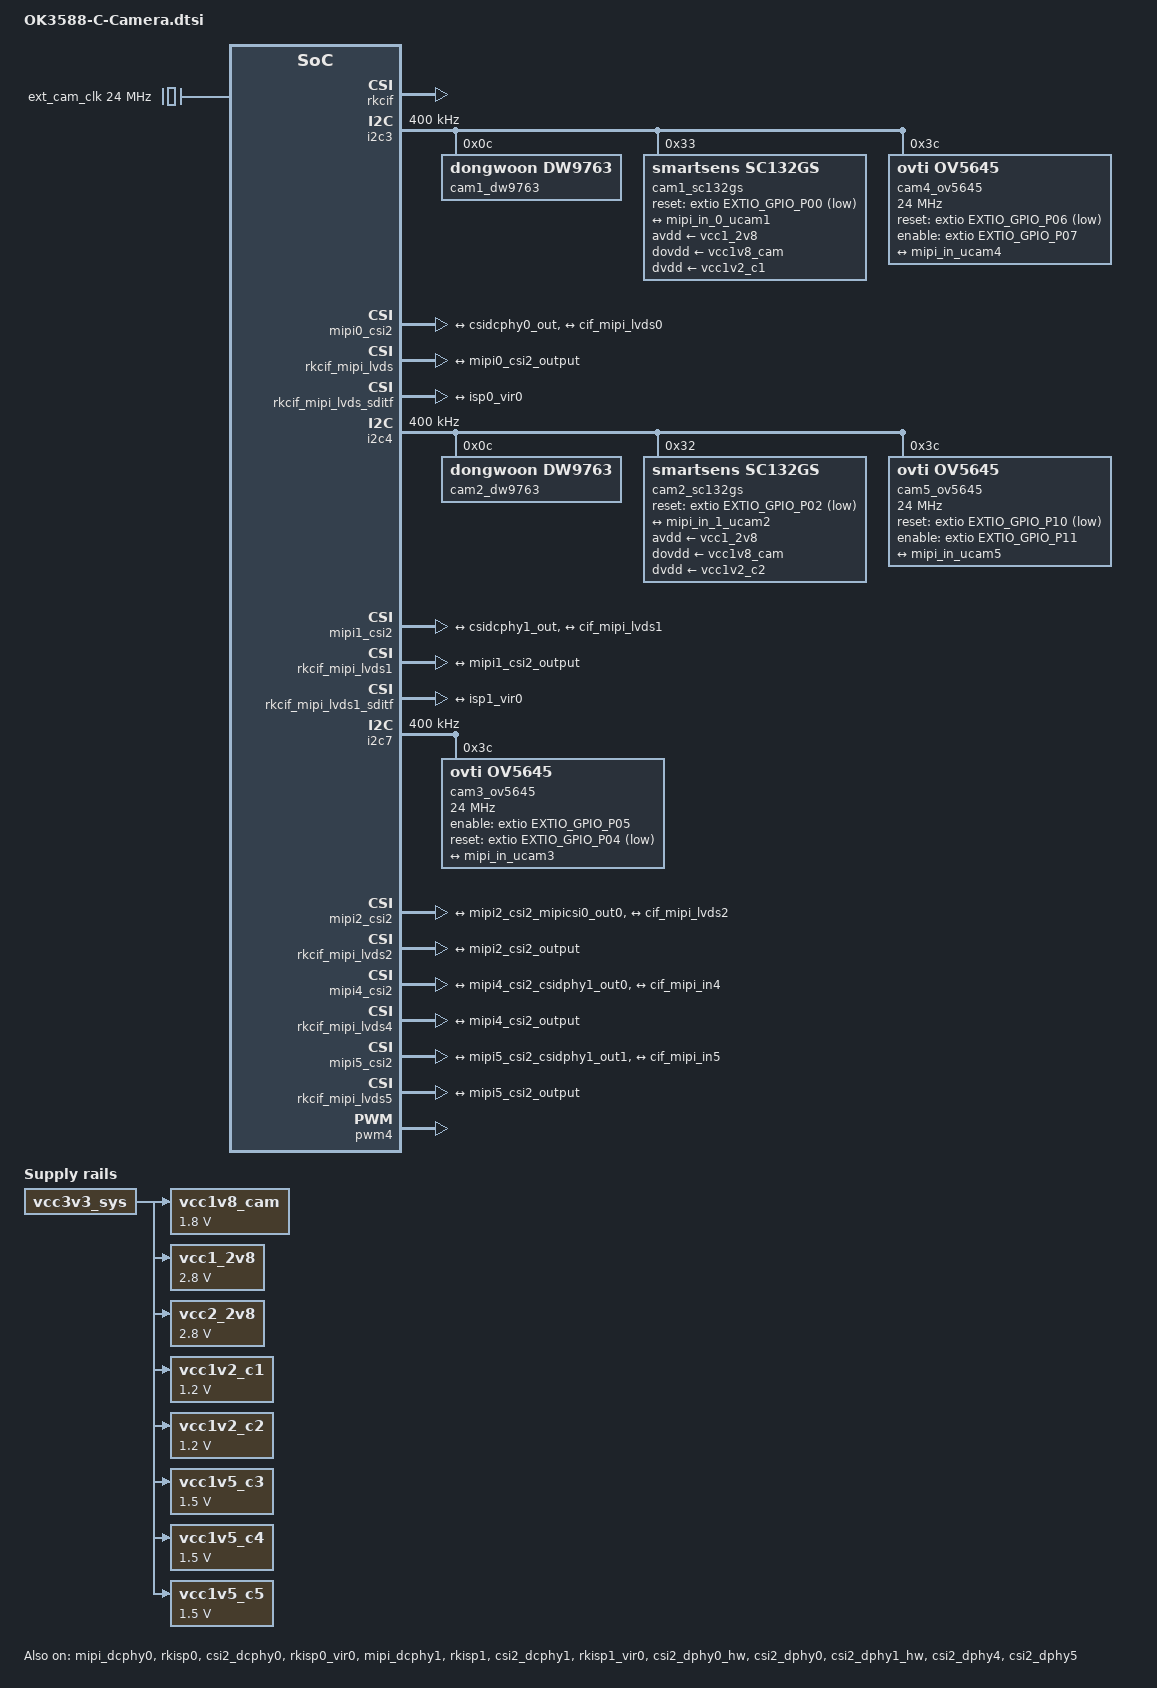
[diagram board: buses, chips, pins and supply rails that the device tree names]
// SPDX-License-Identifier: (GPL-2.0+ OR MIT)
/*
 * Copyright (c) 2022 Forlinx Co., Ltd.
 *

 * rkisp0 --> rkisp0_vir0/rkisp0_vir1/rkisp0_vir2/rkisp0_vir3
 * rkisp1 --> rkisp1_vir0/rkisp1_vir1/rkisp1_vir2/rkisp1_vir3

 * rkcif_mipi_lvds --> rkcif_mipi_lvds[0-4]_sditf

 * mipicamera0 --> csi2_dcphy0 --> mipi0_csi2 -->rkcif_mipi_lvds  --> rkcif_mipi_lvds_sditf  --> rkisp0_vir0
 * mipicamera1 --> csi2_dcphy1 --> mipi1_csi2 -->rkcif_mipi_lvds1 --> rkcif_mipi_lvds1_sditf --> rkisp1_vir0
	
 * csi2_dphy0 or (csi2_dphy1、csi2_dphy2)	dphy0
 * csi2_dphy3 or (csi2_dphy4、csi2_dphy5)	dphy1

 * mipicamera2 --> csi2_dphy1 -->  mipi2_csi2 -->rkcif_mipi_lvds2 -->rkcif_mipi_lvds2_sditf  --> rkisp0_vir1
 * mipicamera3 --> csi2_dphy2 -->  mipi3_csi2 -->rkcif_mipi_lvds3 -->rkcif_mipi_lvds3_sditf  --> rkisp0_vir2
 * mipicamera4 --> csi2_dphy4 -->  mipi4_csi2 -->rkcif_mipi_lvds4 -->rkcif_mipi_lvds4_sditf  --> rkisp1_vir1
 * mipicamera5 --> csi2_dphy5 -->  mipi5_csi2 -->rkcif_mipi_lvds5 -->rkcif_mipi_lvds5_sditf  --> rkisp1_vir2

 * mipicamera6 --> rkcif_dvp ---> rkcif_dvp_sditf
 */

/ {
    	ext_cam_clk: external-camera-clock {
            compatible = "fixed-clock";
            clock-frequency = <24000000>;
            clock-output-names = "CLK_CAMERA_24MHZ";
            #clock-cells = <0>;
    	};

    	vcc1v8_cam: vcc1v8-cam {
            compatible = "regulator-fixed";
            regulator-name = "vcc1v8_cam";
            regulator-always-on;
            regulator-boot-on;
            regulator-min-microvolt = <1800000>;
            regulator-max-microvolt = <1800000>;
            vin-supply = <&vcc3v3_sys>;
        };

        vcc1_2v8: vcc1-2v8 {
            compatible = "regulator-fixed";
            regulator-name = "vcc1_2v8";
            regulator-always-on;
            regulator-boot-on;
            regulator-min-microvolt = <2800000>;
            regulator-max-microvolt = <2800000>;
            vin-supply = <&vcc3v3_sys>;
        };

        vcc2_2v8: vcc2-2v8 {
            compatible = "regulator-fixed";
            regulator-name = "vcc2_2v8";
            regulator-always-on;
            regulator-boot-on;
            regulator-min-microvolt = <2800000>;
            regulator-max-microvolt = <2800000>;
            vin-supply = <&vcc3v3_sys>;
        };

        vcc1v2_c1: vcc1v2-c1 {
            compatible = "regulator-fixed";
            regulator-name = "vcc1v2_c1";
            regulator-always-on;
            regulator-boot-on;
            regulator-min-microvolt = <1200000>;
            regulator-max-microvolt = <1200000>;
            vin-supply = <&vcc3v3_sys>;
        };

        vcc1v2_c2: vcc1v2-c2 {
            compatible = "regulator-fixed";
            regulator-name = "vcc1v2_c2";
            regulator-always-on;
            regulator-boot-on;
            regulator-min-microvolt = <1200000>;
            regulator-max-microvolt = <1200000>;
            vin-supply = <&vcc3v3_sys>;
        };

        vcc1v5_c3: vcc1v5-c3 {
            compatible = "regulator-fixed";
            regulator-name = "vcc1v5_c3";
            regulator-always-on;
            regulator-boot-on;
            regulator-min-microvolt = <1500000>;
            regulator-max-microvolt = <1500000>;
            vin-supply = <&vcc3v3_sys>;
        };

        vcc1v5_c4: vcc1v5-c4 {
            compatible = "regulator-fixed";
            regulator-name = "vcc1v5_c4";
            regulator-always-on;
            regulator-boot-on;
            regulator-min-microvolt = <1500000>;
            regulator-max-microvolt = <1500000>;
            vin-supply = <&vcc3v3_sys>;
        };

        vcc1v5_c5: vcc1v5-c5 {
            compatible = "regulator-fixed";
            regulator-name = "vcc1v5_c5";
            regulator-always-on;
            regulator-boot-on;
            regulator-min-microvolt = <1500000>;
            regulator-max-microvolt = <1500000>;
            vin-supply = <&vcc3v3_sys>;
        };
};

&rkcif {
    status = "okay";
};

&rkcif_mmu {
    status = "okay";
};


//************************************************
//***  CAM1 OV13855 Configuration description  ***
//************************************************

&mipi_dcphy0 {
    status = "okay";
};

&rkisp0 {
    status = "okay";
};

&isp0_mmu {
    status = "okay";
};

&i2c3 {
    status = "okay";
    clock-frequency = <400000>;

    vm149c_0: vm149c@0c {
        compatible = "silicon touch,vm149c";
        status = "disabled";
        reg = <0x0c>;
        rockchip,camera-module-index = <0>;
        rockchip,camera-module-facing = "back";
	};

    cam1_ov13850: cam1_ov13850@10 {
        compatible = "ovti,ov13850";
        status = "disabled";
        reg = <0x10>;

        clocks = <&ext_cam_clk>;
        clock-names = "xvclk";

        pwdn-gpios = <&extio EXTIO_GPIO_P01 GPIO_ACTIVE_HIGH>;
        reset-gpios = <&extio EXTIO_GPIO_P00 GPIO_ACTIVE_HIGH>;
        rockchip,camera-module-index = <0>;
        rockchip,camera-module-facing = "back";
        rockchip,camera-module-name = "forlinx";
        rockchip,camera-module-lens-name = "default"; 
	lens-focus = <&vm149c_0>;

        port {
            cam1_ov13850_out: endpoint {
                remote-endpoint = <&mipi_in_0_ucam1>;
                data-lanes = <1 2 3 4>;
            };
        };
    };

    cam1_dw9763: cam1-dw9763@c {
        compatible = "dongwoon,dw9763";
        status = "okay";
        reg = <0x0c>;
        rockchip,vcm-max-current = <120>;
        rockchip,vcm-start-current = <20>;
        rockchip,vcm-rated-current = <90>;
        rockchip,vcm-step-mode = <3>;
        rockchip,vcm-t-src = <0x20>;
        rockchip,vcm-t-div = <1>;
        rockchip,camera-module-index = <0>;
        rockchip,camera-module-facing = "back";
    };

    cam1_ov13855: cam1-ov13855@36 {
        compatible = "ovti,ov13855";
        status = "disabled";
        reg = <0x36>;

        clocks = <&ext_cam_clk>;
        clock-names = "xvclk";
	power-domains = <&power RK3588_PD_VI>;
        pwdn-gpios = <&extio EXTIO_GPIO_P01 GPIO_ACTIVE_HIGH>;
        reset-gpios = <&extio EXTIO_GPIO_P00 GPIO_ACTIVE_HIGH>;
	avdd-supply = <&vcc1_2v8>;
	dovdd-supply = <&vcc1v8_cam>;
	dvdd-supply = <&vcc1v2_c1>;
        rockchip,camera-module-index = <0>;
        rockchip,camera-module-facing = "back";
        rockchip,camera-module-name = "CMK-OT2016-FV1";
        rockchip,camera-module-lens-name = "default";
        lens-focus = <&cam1_dw9763>;
        port {
            cam1_ov13855_out: endpoint {
            remote-endpoint = <&mipi_in_0_ucam1>;
            data-lanes = <1 2 3 4>;
            };
        };
    };

    cam1_sc132gs: cam1-sc132gs@33 {
        compatible = "smartsens,sc132gs";
        status = "okay";
        reg = <0x33>;

        clocks = <&ext_cam_clk>;
        clock-names = "xvclk";
	power-domains = <&power RK3588_PD_VI>;
        reset-gpios = <&extio EXTIO_GPIO_P00 GPIO_ACTIVE_LOW>;
	avdd-supply = <&vcc1_2v8>;
	dovdd-supply = <&vcc1v8_cam>;
	dvdd-supply = <&vcc1v2_c1>;
        rockchip,camera-module-index = <0>;
        rockchip,camera-module-facing = "back";
        rockchip,camera-module-name = "forlinx";
        rockchip,camera-module-lens-name = "default";
        port {
            cam1_sc132gs_out: endpoint {
            remote-endpoint = <&mipi_in_0_ucam1>;
            data-lanes = <1 2>;
            };
        };
    };
};

&csi2_dcphy0 {
    status = "okay";
    ports {
        #address-cells = <1>;
        #size-cells = <0>;
        port@0 {
            reg = <0>;
            #address-cells = <1>;
            #size-cells = <0>;
            mipi_in_0_ucam1: endpoint@1 {
                reg = <1>;
                remote-endpoint = <&cam1_sc132gs_out>;
                data-lanes = <1 2>;
            };
        };
        port@1 {
            reg = <1>;
            #address-cells = <1>;
            #size-cells = <0>;
            csidcphy0_out: endpoint@0 {
                reg = <0>;
                remote-endpoint = <&mipi0_csi2_input>;
            };
        };
    };
};

&mipi0_csi2 {
    status = "okay";
    ports {
        #address-cells = <1>;
        #size-cells = <0>;
        port@0 {
            reg = <0>;
            #address-cells = <1>;
            #size-cells = <0>;
            mipi0_csi2_input: endpoint@1 {
                reg = <1>;
                remote-endpoint = <&csidcphy0_out>;
            };
        };
        port@1 {
            reg = <1>;
            #address-cells = <1>;
            #size-cells = <0>;
            mipi0_csi2_output: endpoint@0 {
                reg = <0>;
                remote-endpoint = <&cif_mipi_lvds0>;
            };
        };
    };
};

&rkcif_mipi_lvds {
    status = "okay";
    port {
        cif_mipi_lvds0: endpoint {
            remote-endpoint = <&mipi0_csi2_output>;
        };
    };
};

&rkcif_mipi_lvds_sditf {
    status = "okay";
    port {
        mipi_lvds_sditf: endpoint {
            remote-endpoint = <&isp0_vir0>;
        };
    };
};

&rkisp0_vir0 {
    status = "okay";
    port {
        #address-cells = <1>;
        #size-cells = <0>;
        isp0_vir0: endpoint@0 {
            reg = <0>;
            remote-endpoint = <&mipi_lvds_sditf>;
        };
    };
};

//************************************************
//***  CAM2 OV13855 Configuration description  ***
//************************************************

&mipi_dcphy1 {
        status = "okay";
};

&rkisp1 {
    status = "okay";
};

&isp1_mmu {
    status = "okay";
};

&i2c4 {
    status = "okay";
    clock-frequency = <400000>;

    vm149c_1: vm149c@0c {
        compatible = "silicon touch,vm149c";
        status = "disabled";
        reg = <0x0c>;
        rockchip,camera-module-index = <1>;
        rockchip,camera-module-facing = "back";
        };

    cam2_ov13850: cam2_ov13850@10 {
        compatible = "ovti,ov13850";
        status = "disabled";
        reg = <0x10>;

        clocks = <&ext_cam_clk>;
        clock-names = "xvclk";

        pwdn-gpios = <&extio EXTIO_GPIO_P03 GPIO_ACTIVE_HIGH>;
        reset-gpios = <&extio EXTIO_GPIO_P02 GPIO_ACTIVE_HIGH>;
        rockchip,camera-module-index = <1>;
        rockchip,camera-module-facing = "front";
        rockchip,camera-module-name = "forlinx";
        rockchip,camera-module-lens-name = "default"; 
        lens-focus = <&vm149c_1>;

        port {
            cam2_ov13850_out: endpoint {
                remote-endpoint = <&mipi_in_1_ucam2>;
                data-lanes = <1 2 3 4>;
            };
        };
    };

    cam2_dw9763: cam2-dw9763@c {
        compatible = "dongwoon,dw9763";
        status = "okay";
        reg = <0x0c>;
        rockchip,vcm-max-current = <120>;
        rockchip,vcm-start-current = <20>;
        rockchip,vcm-rated-current = <90>;
        rockchip,vcm-step-mode = <3>;
        rockchip,vcm-t-src = <0x20>;
        rockchip,vcm-t-div = <1>;
        rockchip,camera-module-index = <1>;
        rockchip,camera-module-facing = "front";
    };

    cam2_ov13855: cam2-ov13855@36 {
        compatible = "ovti,ov13855";
        status = "disabled";
        reg = <0x36>;

        clocks = <&ext_cam_clk>;
        clock-names = "xvclk";
	power-domains = <&power RK3588_PD_VI>;
        pwdn-gpios = <&extio EXTIO_GPIO_P03 GPIO_ACTIVE_HIGH>;
        reset-gpios = <&extio EXTIO_GPIO_P02 GPIO_ACTIVE_HIGH>;
        avdd-supply = <&vcc1_2v8>;
        dovdd-supply = <&vcc1v8_cam>;
        dvdd-supply = <&vcc1v2_c2>;
        rockchip,camera-module-index = <1>;
        rockchip,camera-module-facing = "front";
        rockchip,camera-module-name = "CMK-OT2016-FV1";
        rockchip,camera-module-lens-name = "default";
        lens-focus = <&cam2_dw9763>;
        port {
            cam2_ov13855_out: endpoint {
            remote-endpoint = <&mipi_in_1_ucam2>;
            data-lanes = <1 2 3 4>;
            };
        };
    };

    cam2_sc132gs: cam2-sc132gs@32 {
        compatible = "smartsens,sc132gs";
        status = "okay";
        reg = <0x32>;

        clocks = <&ext_cam_clk>;
        clock-names = "xvclk";
	power-domains = <&power RK3588_PD_VI>;
        reset-gpios = <&extio EXTIO_GPIO_P02 GPIO_ACTIVE_LOW>;
        avdd-supply = <&vcc1_2v8>;
        dovdd-supply = <&vcc1v8_cam>;
        dvdd-supply = <&vcc1v2_c2>;
        rockchip,camera-module-index = <1>;
        rockchip,camera-module-facing = "back";
        rockchip,camera-module-name = "forlinx";
        rockchip,camera-module-lens-name = "default";
        port {
            cam2_sc132gs_out: endpoint {
            remote-endpoint = <&mipi_in_1_ucam2>;
            data-lanes = <1 2>;
            };
        };
    };
};

&csi2_dcphy1 {
    status = "okay";
    ports {
        #address-cells = <1>;
        #size-cells = <0>;
        port@0 {
            reg = <0>;
            #address-cells = <1>;
            #size-cells = <0>;
            mipi_in_1_ucam2: endpoint@1 {
                reg = <1>;
                remote-endpoint = <&cam2_sc132gs_out>;
                data-lanes = <1 2>;
            };
        };
        port@1 {
            reg = <1>;
            #address-cells = <1>;
            #size-cells = <0>;
            csidcphy1_out: endpoint@0 {
                reg = <0>;
                remote-endpoint = <&mipi1_csi2_input>;
            };
        };
    };
};

&mipi1_csi2 {
    status = "okay";
    ports {
        #address-cells = <1>;
        #size-cells = <0>;
        port@0 {
            reg = <0>;
            #address-cells = <1>;
            #size-cells = <0>;
            mipi1_csi2_input: endpoint@1 {
                reg = <1>;
                remote-endpoint = <&csidcphy1_out>;
            };
        };
        port@1 {
            reg = <1>;
            #address-cells = <1>;
            #size-cells = <0>;
            mipi1_csi2_output: endpoint@0 {
                reg = <0>;
                remote-endpoint = <&cif_mipi_lvds1>;
            };
        };
    };
};

&rkcif_mipi_lvds1 {
    status = "okay";
    port {
        cif_mipi_lvds1: endpoint {
            remote-endpoint = <&mipi1_csi2_output>;
        };
    };
};

&rkcif_mipi_lvds1_sditf {
    status = "okay";
    port {
        mipi_lvds1_sditf: endpoint {
            remote-endpoint = <&isp1_vir0>;
        };
    };
};

&rkisp1_vir0 {
    status = "okay";
    port {
        #address-cells = <1>;
        #size-cells = <0>;
        isp1_vir0: endpoint@0 {
            reg = <0>;
            remote-endpoint = <&mipi_lvds1_sditf>;
        };
    };
};

//************************************************
//***  CAM3 OV5645 Configuration Description  ****
//************************************************

&csi2_dphy0_hw {
    status = "okay";
};

&i2c7 {
    status = "okay";
    clock-frequency = <400000>;

    cam3_ov5645: cam3_ov5645@3c {
        compatible = "ovti,ov5645";
        status = "okay";
        reg = <0x3c>;

        clocks = <&ext_cam_clk>;
        clock-names = "xclk";
        clock-frequency = <24000000>;

        enable-gpios = <&extio EXTIO_GPIO_P05 GPIO_ACTIVE_HIGH>;
        reset-gpios = <&extio EXTIO_GPIO_P04 GPIO_ACTIVE_LOW>;
        //vdda-supply = <&vcc2_2v8>;
        //vdddo-supply = <&vcc1v8_cam>;
        //vddd-supply = <&vcc1v5_c3>;
        rockchip,camera-module-index = <0>;
        rockchip,camera-module-facing = "back";
        rockchip,camera-module-name = "NC";
        rockchip,camera-module-lens-name = "NC";

        port {
            cam3_ov5645_out: endpoint {
                remote-endpoint = <&mipi_in_ucam3>;
                data-lanes = <1 2>;
            };
        };
    };
};

&csi2_dphy0 {
    status = "okay";
    ports {
        #address-cells = <1>;
        #size-cells = <0>;
        port@0 {
            reg = <0>;
            #address-cells = <1>;
            #size-cells = <0>;
            mipi_in_ucam3: endpoint@1 {
                reg = <1>;
                remote-endpoint = <&cam3_ov5645_out>;
                data-lanes = <1 2>;
            };
        };
        port@1 {
            reg = <1>;
            #address-cells = <1>;
            #size-cells = <0>;
            mipi2_csi2_mipicsi0_out0: endpoint@0 {
                reg = <0>;
                remote-endpoint = <&mipi2_csi2_input>;
            };
        };
    };
};

&mipi2_csi2 {
        status = "okay";
    ports {
        #address-cells = <1>;
        #size-cells = <0>;
        port@0 {
            reg = <0>;
            #address-cells = <1>;
            #size-cells = <0>;
            mipi2_csi2_input: endpoint@1 {
                reg = <1>;
                remote-endpoint = <&mipi2_csi2_mipicsi0_out0>;
            };
        };
        port@1 {
            reg = <1>;
            #address-cells = <1>;
            #size-cells = <0>;
            mipi2_csi2_output: endpoint@0 {
                reg = <0>;
                remote-endpoint = <&cif_mipi_lvds2>;
            };
        };
    };
};

&rkcif_mipi_lvds2 {
    status = "okay";
    port {
        cif_mipi_lvds2: endpoint {
            remote-endpoint = <&mipi2_csi2_output>;
        };
    };
};

&rkcif_mipi_lvds2_sditf {
    status = "disabled";
};

//************************************************
//***  CAM4 OV5645 Configuration Description  ****
//************************************************

&csi2_dphy1_hw {
    status = "okay";
};

&i2c3 {
    status = "okay";
	
    cam4_ov5645: cam4_ov5645@3c {
        status = "okay";
        compatible = "ovti,ov5645";
        reg = <0x3c>;
        clocks = <&ext_cam_clk>;
        clock-names = "xclk";
        clock-frequency = <24000000>;

        reset-gpios = <&extio EXTIO_GPIO_P06 GPIO_ACTIVE_LOW>;
        enable-gpios = <&extio EXTIO_GPIO_P07 GPIO_ACTIVE_HIGH>;
        //vdda-supply = <&vcc2_2v8>;
        //vdddo-supply = <&vcc1v8_cam>;
        //vddd-supply = <&vcc1v5_c4>;
        rockchip,camera-module-index = <1>;
        rockchip,camera-module-facing = "front";
        rockchip,camera-module-name = "NC";
        rockchip,camera-module-lens-name = "NC";
        port {
            cam4_ov5645_out: endpoint {
                remote-endpoint = <&mipi_in_ucam4>;
                data-lanes = <1 2>;
            };
        };
    };
};

&csi2_dphy4 {
    status = "okay";
    ports {
        #address-cells = <1>;
        #size-cells = <0>;
        port@0 {
            reg = <0>;
            #address-cells = <1>;
            #size-cells = <0>;
            mipi_in_ucam4: endpoint@1 {
                reg = <1>;
                remote-endpoint = <&cam4_ov5645_out>;
                data-lanes = <1 2>;
            };
        };
        port@1 {
            reg = <1>;
            #address-cells = <1>;
            #size-cells = <0>;
            mipi4_csi2_csidphy1_out0: endpoint@0 {
                reg = <0>;
                remote-endpoint = <&mipi4_csi2_input>;
            };
        };
    };
};

&mipi4_csi2 {
    status = "okay";
    ports {
        #address-cells = <1>;
        #size-cells = <0>;
        port@0 {
            reg = <0>;
            #address-cells = <1>;
            #size-cells = <0>;
            mipi4_csi2_input: endpoint@1 {
                reg = <1>;
                remote-endpoint = <&mipi4_csi2_csidphy1_out0>;
            };
        };
        port@1 {
            reg = <1>;
            #address-cells = <1>;
            #size-cells = <0>;
            mipi4_csi2_output: endpoint@0 {
                reg = <0>;
                remote-endpoint = <&cif_mipi_in4>;
            };
        };
    };
};

&rkcif_mipi_lvds4 {
    status = "okay";
    port {
        cif_mipi_in4: endpoint {
            remote-endpoint = <&mipi4_csi2_output>;
        };
    };
};

&rkcif_mipi_lvds4_sditf {
    status = "disabled";
};

//************************************************
//***  CAM5 OV5645 Configuration Description  ****
//************************************************

&i2c4 {
    status = "okay";
	
    cam5_ov5645: cam5_ov5645@3c {
        status = "okay";
        compatible = "ovti,ov5645";
        reg = <0x3c>;
        clocks = <&ext_cam_clk>;
        clock-names = "xclk";
        clock-frequency = <24000000>;

        reset-gpios = <&extio EXTIO_GPIO_P10 GPIO_ACTIVE_LOW>;
        enable-gpios = <&extio EXTIO_GPIO_P11 GPIO_ACTIVE_HIGH>;
        //vdda-supply = <&vcc2_2v8>;
        //vdddo-supply = <&vcc1v8_cam>;
        //vddd-supply = <&vcc1v5_c5>;
        rockchip,camera-module-index = <2>;
        rockchip,camera-module-facing = "front";
        rockchip,camera-module-name = "NC";
        rockchip,camera-module-lens-name = "NC";
        port {
            cam5_ov5645_out: endpoint {
                remote-endpoint = <&mipi_in_ucam5>;
                data-lanes = <1 2>;
            };
        };
    };
};

&csi2_dphy5 {
    status = "okay";
    ports {
        #address-cells = <1>;
        #size-cells = <0>;
        port@0 {
            reg = <0>;
            #address-cells = <1>;
            #size-cells = <0>;
            mipi_in_ucam5: endpoint@1 {
                reg = <1>;
                remote-endpoint = <&cam5_ov5645_out>;
                data-lanes = <1 2>;
            };
        };
        port@1 {
            reg = <1>;
            #address-cells = <1>;
            #size-cells = <0>;
			mipi5_csi2_csidphy1_out1: endpoint@0 {
                reg = <0>;
                remote-endpoint = <&mipi5_csi2_input>;
            };
        };
    };
};

&mipi5_csi2 {
    status = "okay";
    ports {
        #address-cells = <1>;
        #size-cells = <0>;
        port@0 {
            reg = <0>;
            #address-cells = <1>;
            #size-cells = <0>;
            mipi5_csi2_input: endpoint@1 {
                reg = <1>;
                remote-endpoint = <&mipi5_csi2_csidphy1_out1>;
            };
        };
        port@1 {
            reg = <1>;
            #address-cells = <1>;
            #size-cells = <0>;
            mipi5_csi2_output: endpoint@0 {
                reg = <0>;
                remote-endpoint = <&cif_mipi_in5>;
            };
        };
    };
};

&rkcif_mipi_lvds5 {
    status = "okay";
    port {
        cif_mipi_in5: endpoint {
            remote-endpoint = <&mipi5_csi2_output>;
        };
    };
};

&rkcif_mipi_lvds5_sditf {
	status = "disabled";
};

/* 双目 SC132GS 帧同步：PWM4_M0 (GPIO0_C5) -> 飞线 -> 转接板 TP_PWM -> 两路 FSYNC */
&pwm4 {
	status = "okay";
};

